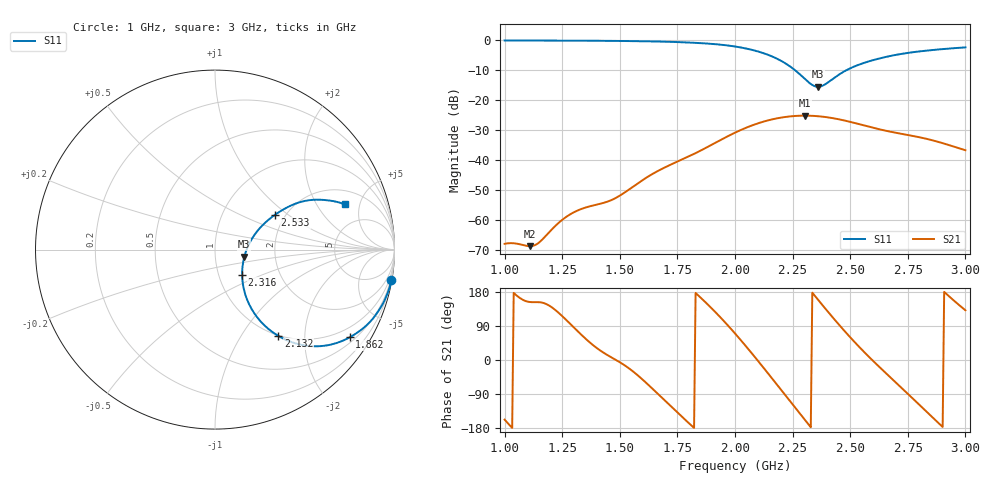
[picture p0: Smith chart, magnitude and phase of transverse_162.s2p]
! TOUCHSTONE file generated by CST MICROWAVE STUDIO
! Date and time: Tue Mar 11 13:57:16 2025
! Project name: transverse.cst
! Parameters = {Fracture=5; B=10; D=160; F=15; Feed=2.85625; L=100; M=20; R=0.384908; S=1; Theta=180; length=57.125; wave=114.25}
! Header version: 2024
! Port assignment regex: !\s*Touchstone port\s*([0-9]+)\s*=\s*(CST MWS port|CST DES external port|CST DES block port)\s*(.+)\s* \(\"(.*)\"\)(\s*mode\s*([0-9]+))?.*
! Touchstone port assignment:
! Touchstone port 1 = CST MWS port 1 ("")
! Touchstone port 2 = CST MWS port 2 ("")
# GHz S MA R 50
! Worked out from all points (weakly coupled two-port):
!   305 points, 1 GHz to 3 GHz, reference 50 ohm
!   highest |S21| = -25.09 dB at 2.303 GHz (marker M1); lowest = -68.6 dB at 1.112 GHz (marker M2)
!   lowest |S11| = -15.5 dB at 2.362 GHz (marker M3), VSWR 1.40, Z = 69.3 - j5.53 ohm
!   |S11| at or under -10 dB: 2.261 GHz to 2.482 GHz (220.7 MHz wide, 9.31 % of centre)
!   S12 and S22 are empty: the file has one direction only
!   S11 on the Smith chart (normalised r, x): 1 GHz: 0, -12; 1.862 GHz: 0.66, -3.24; 2.132 GHz: 0.99, -1.48; 2.316 GHz: 1.29, -0.38; 2.533 GHz: 1.77, +0.81; 3 GHz: 2.95, +3.57
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1  0.9977 -9.8  0.0004056 -157.3  0 0.0  0 0.0
1.03947  0.9971 -10.3  0.0004143 177.1  0 0.0  0 0.0
1.11184  0.996 -11.3  0.0003706 152.8  0 0.0  0 0.0
1.15132  0.9955 -11.9  0.0004322 152.5  0 0.0  0 0.0
1.26316  0.9924 -13.8  0.001111 108.2  0 0.0  0 0.0
1.33553  0.9895 -15.1  0.001558 65.1  0 0.0  0 0.0
1.47368  0.9815 -18.2  0.002267 3.4  0 0.0  0 0.0
1.67105  0.957 -24.2  0.006834 -92.9  0 0.0  0 0.0
1.86184  0.8952 -33.1  0.01529 158.2  0 0.0  0 0.0
2  0.7914 -42.9  0.02892 70.2  0 0.0  0 0.0
2.13158  0.5972 -53.7  0.04511 -26.3  0 0.0  0 0.0
2.22368  0.4031 -58.4  0.05322 -96.9  0 0.0  0 0.0
2.30263  0.2293 -48.2  0.05565 -157.5  0 0.0  0 0.0
2.31579  0.2065 -42.9  0.05559 -167.5  0 0.0  0 0.0
2.33553  0.1807 -32.0  0.05525 177.6  0 0.0  0 0.0
2.36184  0.1682 -13.3  0.05437 157.9  0 0.0  0 0.0
2.38816  0.1822 4.2  0.05302 138.5  0 0.0  0 0.0
2.44079  0.253 23.1  0.04921 100.5  0 0.0  0 0.0
2.53289  0.3872 30.1  0.04069 38.5  0 0.0  0 0.0
2.67105  0.5468 29.1  0.03022 -43.9  0 0.0  0 0.0
2.84211  0.6821 23.8  0.02231 -142.8  0 0.0  0 0.0
3  0.7643 19.2  0.01474 131.2  0 0.0  0 0.0
